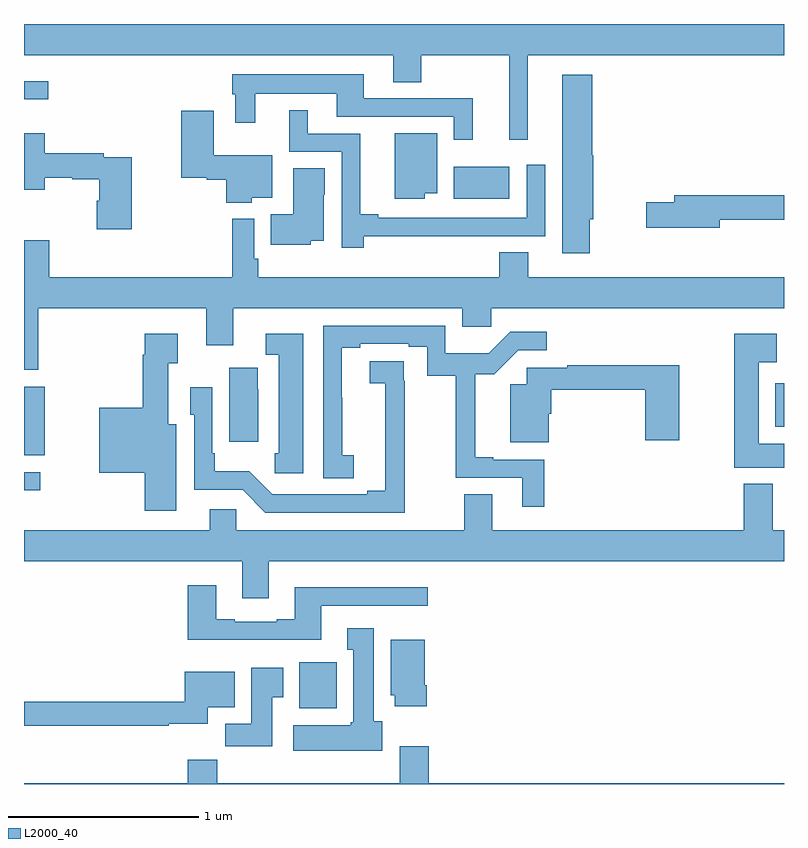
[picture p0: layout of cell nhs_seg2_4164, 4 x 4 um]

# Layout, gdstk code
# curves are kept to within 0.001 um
import gdstk
lib = gdstk.Library(unit=1e-6, precision=1e-09)
def R(c, l, rs):  # rectangles x0, y0, x1, y1
    for r in rs: c.add(gdstk.rectangle(r[:2], r[2:], *l))
def P(c, l, *ps):  # polygons
    for p in ps: c.add(gdstk.Polygon(p, *l))
L2000_40 = (2000, 40)

nhs_seg2_4164 = lib.new_cell('nhs_seg2_4164')
R(nhs_seg2_4164, L2000_40, [(336.449,644.198,336.646,644.44), (335,645.345,335.086,645.441), (335,645.53,335.11,645.892), (338.954,645.68,339,645.91), (337.262,646.88,337.555,647.05), (335,647.403,335.128,647.5)])
P(nhs_seg2_4164, L2000_40, [(339,647.8),(335,647.8),(335,647.636),(336.944,647.636),(336.944,647.494),(337.092,647.494),(337.092,647.636),(337.553,647.636),(337.553,647.19),(337.652,647.19),(337.652,647.636),(339,647.636)],
  [(337.361,647.409),(336.787,647.409),(336.787,647.536),(336.096,647.536),(336.096,647.431),(336.113,647.431),(336.113,647.28),(336.217,647.28),(336.217,647.432),(336.647,647.432),(336.647,647.313),(337.263,647.313),(337.263,647.19),(337.361,647.19)],
  [(337.978,646.773),(337.996,646.773),(337.996,647.109),(337.991,647.109),(337.991,647.533),(337.832,647.533),(337.832,646.593),(337.978,646.593)],
  [(336.788,646.682),(337.418,646.682),(337.418,646.683),(337.743,646.683),(337.743,647.059),(337.647,647.059),(337.647,646.779),(336.865,646.779),(336.865,646.799),(336.77,646.799),(336.77,647.223),(336.493,647.223),(336.493,647.347),(336.395,647.347),(336.395,647.127),(336.672,647.127),(336.672,646.623),(336.788,646.623)],
  [(336.198,646.886),(336.307,646.886),(336.307,647.11),(335.998,647.11),(335.998,647.344),(335.828,647.344),(335.828,646.991),(335.963,646.991),(335.963,646.979),(336.065,646.979),(336.065,646.859),(336.198,646.859)],
  [(335.567,647.1),(335.42,647.1),(335.42,647.12),(335.11,647.12),(335.11,647.224),(335,647.224),(335,646.928),(335.11,646.928),(335.11,646.992),(335.253,646.992),(335.253,646.984),(335.396,646.984),(335.396,646.869),(335.384,646.869),(335.384,646.719),(335.567,646.719)],
  [(337.108,646.91),(337.174,646.91),(337.174,647.224),(336.95,647.224),(336.95,646.88),(337.108,646.88)],
  [(336.51,646.658),(336.577,646.658),(336.577,646.902),(336.583,646.902),(336.583,647.042),(336.416,647.042),(336.416,646.798),(336.298,646.798),(336.298,646.637),(336.51,646.637)],
  [(338.662,646.77),(339,646.77),(339,646.898),(338.423,646.898),(338.423,646.862),(338.274,646.862),(338.274,646.727),(338.662,646.727)],
  [(335.075,646.304),(335.96,646.304),(335.96,646.11),(336.1,646.11),(336.1,646.304),(337.307,646.304),(337.307,646.206),(337.459,646.206),(337.459,646.304),(339,646.304),(339,646.468),(337.654,646.468),(337.654,646.598),(337.502,646.598),(337.502,646.468),(336.233,646.468),(336.233,646.564),(336.213,646.564),(336.213,646.774),(336.097,646.774),(336.097,646.468),(335.132,646.468),(335.132,646.663),(335,646.663),(335,645.981),(335.075,645.981)],
  [(337.739,645.507),(337.471,645.507),(337.471,645.52),(337.376,645.52),(337.376,645.957),(337.475,645.957),(337.602,646.083),(337.75,646.083),(337.75,646.179),(337.56,646.179),(337.447,646.066),(337.218,646.066),(337.218,646.212),(336.576,646.212),(336.576,645.409),(336.736,645.409),(336.736,645.529),(336.675,645.529),(336.675,645.833),(336.673,645.833),(336.673,646.096),(336.769,646.096),(336.769,646.116),(337.025,646.116),(337.025,646.102),(337.122,646.102),(337.122,645.949),(337.273,645.949),(337.273,645.411),(337.622,645.411),(337.622,645.258),(337.739,645.258)],
  [(339,645.592),(338.866,645.592),(338.866,646.019),(338.962,646.019),(338.962,646.171),(338.737,646.171),(338.737,645.464),(339,645.464)],
  [(336.469,646.171),(336.273,646.171),(336.273,646.059),(336.341,646.059),(336.341,645.54),(336.319,645.54),(336.319,645.435),(336.469,645.435)],
  [(335.8,645.694),(335.758,645.694),(335.758,646.015),(335.809,646.015),(335.809,646.171),(335.636,646.171),(335.636,646.058),(335.624,646.058),(335.624,645.781),(335.396,645.781),(335.396,645.437),(335.636,645.437),(335.636,645.237),(335.8,645.237)],
  [(337.004,645.923),(336.998,645.923),(336.998,646.025),(336.819,646.025),(336.819,645.91),(336.901,645.91),(336.902,645.344),(336.806,645.344),(336.806,645.324),(336.306,645.324),(336.185,645.445),(336.004,645.445),(336.004,645.541),(335.991,645.541),(335.991,645.889),(335.874,645.889),(335.874,645.744),(335.895,645.744),(335.895,645.348),(336.15,645.348),(336.27,645.228),(337.004,645.228)],
  [(337.762,645.75),(337.775,645.75),(337.775,645.874),(338.27,645.874),(338.27,645.609),(338.448,645.609),(338.448,646.003),(337.858,646.003),(337.858,645.99),(337.647,645.99),(337.647,645.904),(337.559,645.904),(337.559,645.599),(337.762,645.599)],
  [(336.232,645.878),(336.229,645.878),(336.229,645.991),(336.08,645.991),(336.08,645.602),(336.232,645.602)],
  [(336.289,644.972),(339,644.972),(339,645.136),(338.941,645.136),(338.941,645.379),(338.789,645.379),(338.789,645.136),(337.465,645.136),(337.465,645.326),(337.318,645.326),(337.318,645.136),(336.117,645.136),(336.117,645.246),(335.978,645.246),(335.978,645.136),(335,645.136),(335,644.972),(336.149,644.972),(336.149,644.778),(336.289,644.778)],
  [(336.565,644.739),(337.126,644.739),(337.126,644.836),(336.425,644.836),(336.425,644.668),(336.329,644.668),(336.329,644.655),(336.109,644.655),(336.109,644.668),(336.013,644.668),(336.013,644.845),(335.861,644.845),(335.861,644.558),(336.565,644.558)],
  [(336.886,644.13),(336.841,644.13),(336.841,644.62),(336.701,644.62),(336.701,644.507),(336.734,644.507),(336.734,644.124),(336.721,644.124),(336.721,644.11),(336.417,644.11),(336.417,643.976),(336.886,643.976)],
  [(337.121,644.32),(337.108,644.32),(337.108,644.56),(336.929,644.56),(336.929,644.268),(336.95,644.268),(336.95,644.208),(337.121,644.208)],
  [(336.307,644.257),(336.364,644.257),(336.364,644.413),(336.197,644.413),(336.197,644.116),(336.058,644.116),(336.058,643.998),(336.307,643.998)],
  [(335.762,644.117),(335.968,644.117),(335.968,644.204),(336.109,644.204),(336.109,644.392),(335.846,644.392),(335.846,644.234),(335,644.234),(335,644.106),(335.762,644.106)],
  [(339,643.804),(337.13,643.804),(337.13,643.999),(336.977,643.999),(336.977,643.804),(336.017,643.804),(336.017,643.928),(335.861,643.928),(335.861,643.804),(335,643.804),(335,643.8),(339,643.8)])

lib.write_gds('nhs_seg2_4164.gds')
